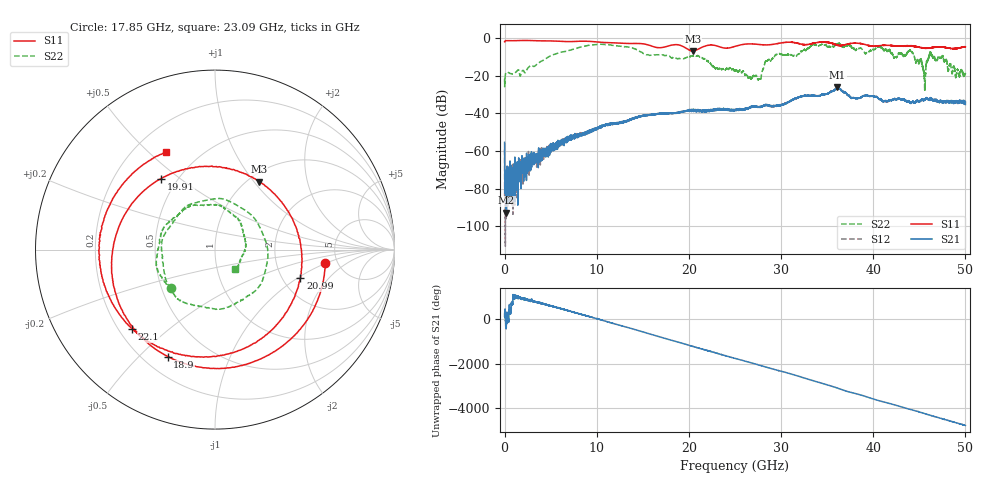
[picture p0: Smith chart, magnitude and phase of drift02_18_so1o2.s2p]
!Created with skrf (http://scikit-rf.org).
# Hz S RI R 50.0
!freq ReS11 ImS11 ReS21 ImS21 ReS12 ImS12 ReS22 ImS22
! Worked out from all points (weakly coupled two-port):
!   10001 points, 300 kHz to 50 GHz, reference 50 ohm
!   highest |S21| = -26.32 dB at 36.12 GHz (marker M1); lowest = -92.9 dB at 200.3 MHz (marker M2)
!   lowest |S11| = -6.9 dB at 20.41 GHz (marker M3), VSWR 2.64, Z = 55.8 + j53.1 ohm
!   |S11| at or under -10 dB: nowhere
!   |S22| runs from -27.8 to -2.6 dB; largest |S21 - S12| = 0.0047
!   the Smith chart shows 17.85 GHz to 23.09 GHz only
!   S11 on the Smith chart (normalised r, x): 17.85 GHz: 3.99, -0.94; 18.9 GHz: 0.29, -0.61; 19.91 GHz: 0.41, +0.43; 20.99 GHz: 2.50, -1.06; 22.1 GHz: 0.25, -0.38; 23.09 GHz: 0.33, +0.57
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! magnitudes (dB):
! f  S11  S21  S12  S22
! 300 kHz  -2.1  -55.4  -59.3  -21.6
! 200.3 MHz  -1.4  -92.9  -79.8  -18.3
! 8.335 GHz  -1.7  -51.1  -50.5  -4.7
! 16.67 GHz  -5.2  -40.3  -40.1  -8.9
! 17.85 GHz  -4.2  -39.9  -40.0  -9.7
! 18.9 GHz  -3.7  -39.6  -39.5  -10.9
! 19.91 GHz  -6.1  -38.6  -38.4  -9.9
! 20.41 GHz  -6.9  -38.2  -38.7  -9.7
! 20.99 GHz  -6.0  -38.4  -38.4  -9.4
! 22.1 GHz  -3.9  -38.8  -38.6  -12.7
! 23.09 GHz  -4.3  -37.9  -38.2  -16.1
! 25 GHz  -4.5  -38.5  -38.5  -17.5
! 27.62 GHz  -3.5  -36.6  -36.7  -21.9
! 28.42 GHz  -3.7  -35.4  -35.7  -12.3
! 29.53 GHz  -3.1  -35.9  -36.2  -8.8
! 33.34 GHz  -3.0  -30.7  -30.5  -3.8
! 36.12 GHz  -3.9  -26.3  -27.0  -3.2
! 41.67 GHz  -3.9  -33.2  -33.4  -6.3
! 44.13 GHz  -4.2  -34.6  -34.3  -7.2
! 45.5 GHz  -5.4  -32.9  -33.1  -17.8
! 46.27 GHz  -5.3  -32.5  -32.0  -8.8
! 50 GHz  -4.7  -35.4  -34.2  -19.1
